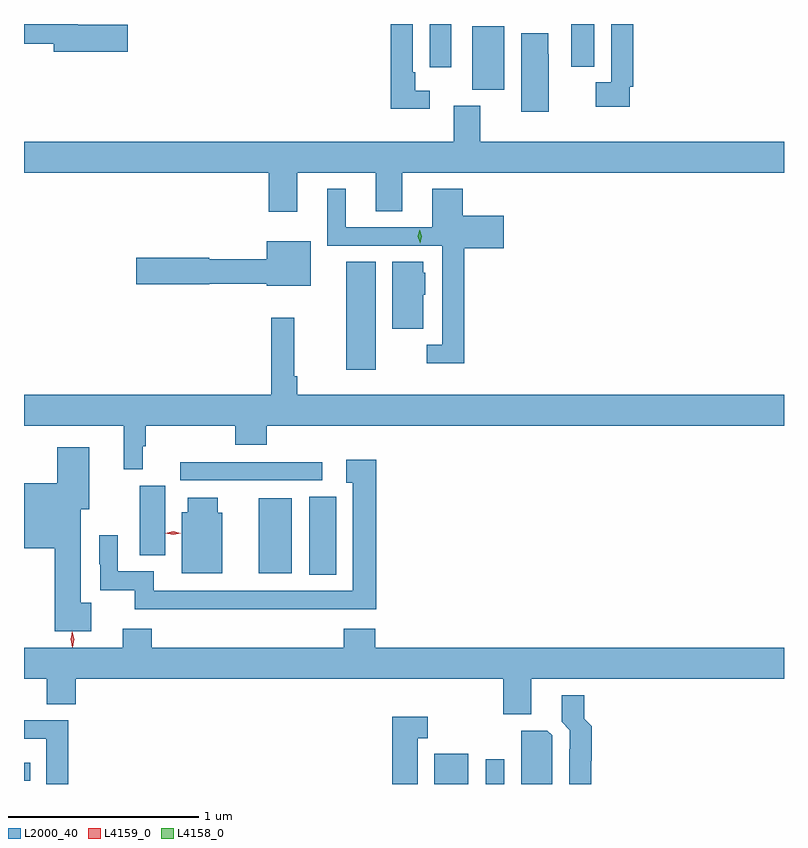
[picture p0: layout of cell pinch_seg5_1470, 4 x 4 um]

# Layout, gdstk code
import gdstk
lib = gdstk.Library(unit=1e-6, precision=1e-09)
def R(c, l, rs):  # rectangles x0, y0, x1, y1
    for r in rs: c.add(gdstk.rectangle(r[:2], r[2:], *l))
def P(c, l, *ps):  # polygons
    for p in ps: c.add(gdstk.Polygon(p, *l))
L2000_40 = (2000, 40)
L4158_0 = (4158, 0)
L4159_0 = (4159, 0)

pinch_seg5_1470 = lib.new_cell('pinch_seg5_1470')
R(pinch_seg5_1470, L2000_40, [(352.718,845.551,352.897,845.71), (352.989,845.551,353.085,845.68), (350.558,845.567,350.591,845.663), (352.058,846.652,352.201,847.064), (351.794,846.659,351.967,847.054), (351.167,846.755,351.301,847.122), (351.381,847.149,352.129,847.245), (352.253,847.731,352.408,848.3), (352.916,849.206,353.086,849.54), (352.694,849.324,352.806,849.551), (353.438,849.325,353.56,849.551)])
P(pinch_seg5_1470, L2000_40, [(351.103,849.548),(350.842,849.548),(350.842,849.551),(350.558,849.551),(350.558,849.448),(350.714,849.448),(350.714,849.406),(351.103,849.406)],
  [(353.745,849.22),(353.765,849.22),(353.765,849.551),(353.649,849.551),(353.649,849.244),(353.566,849.244),(353.566,849.116),(353.745,849.116)],
  [(352.693,849.201),(352.617,849.201),(352.617,849.298),(352.605,849.298),(352.605,849.551),(352.489,849.551),(352.489,849.104),(352.693,849.104)],
  [(353.32,849.392),(353.316,849.392),(353.316,849.503),(353.174,849.503),(353.174,849.09),(353.32,849.09)],
  [(351.997,848.768),(352.409,848.768),(352.409,848.566),(352.549,848.566),(352.549,848.768),(354.558,848.768),(354.558,848.932),(352.96,848.932),(352.96,849.121),(352.82,849.121),(352.82,848.932),(350.558,848.932),(350.558,848.768),(351.845,848.768),(351.845,848.562),(351.997,848.562)],
  [(352.874,848.372),(353.083,848.372),(353.083,848.542),(352.868,848.542),(352.868,848.683),(352.706,848.683),(352.706,848.481),(352.252,848.481),(352.252,848.683),(352.154,848.683),(352.154,848.385),(352.758,848.385),(352.758,847.863),(352.677,847.863),(352.677,847.766),(352.874,847.766)],
  [(352.066,848.407),(351.836,848.407),(351.836,848.314),(351.534,848.314),(351.534,848.322),(351.15,848.322),(351.15,848.18),(351.534,848.18),(351.534,848.185),(351.836,848.185),(351.836,848.174),(352.066,848.174)],
  [(352.66,848.127),(352.669,848.127),(352.669,848.241),(352.66,848.241),(352.66,848.3),(352.496,848.3),(352.496,847.947),(352.66,847.947)],
  [(351.182,847.328),(351.2,847.328),(351.2,847.436),(351.671,847.436),(351.671,847.337),(351.836,847.337),(351.836,847.436),(354.558,847.436),(354.558,847.6),(351.995,847.6),(351.995,847.696),(351.98,847.696),(351.98,848.005),(351.859,848.005),(351.859,847.6),(350.558,847.6),(350.558,847.436),(351.083,847.436),(351.083,847.207),(351.182,847.207)],
  [(350.911,846.504),(350.857,846.504),(350.857,846.998),(350.902,846.998),(350.902,847.324),(350.732,847.324),(350.732,847.135),(350.558,847.135),(350.558,846.791),(350.72,846.791),(350.72,846.356),(350.911,846.356)],
  [(352.157,846.471),(352.411,846.471),(352.411,847.258),(352.253,847.258),(352.253,847.137),(352.289,847.137),(352.289,846.567),(351.241,846.567),(351.241,846.67),(351.051,846.67),(351.051,846.859),(350.955,846.859),(350.955,846.708),(350.958,846.708),(350.958,846.57),(351.142,846.57),(351.142,846.47),(352.157,846.47)],
  [(351.601,846.978),(351.577,846.978),(351.577,847.057),(351.419,847.057),(351.419,846.982),(351.389,846.982),(351.389,846.659),(351.601,846.659)],
  [(350.558,846.104),(350.678,846.104),(350.678,845.971),(350.831,845.971),(350.831,846.104),(353.08,846.104),(353.08,845.917),(353.227,845.917),(353.227,846.104),(354.558,846.104),(354.558,846.268),(352.406,846.268),(352.406,846.367),(352.241,846.367),(352.241,846.268),(351.23,846.268),(351.23,846.367),(351.077,846.367),(351.077,846.268),(350.558,846.268)],
  [(353.543,845.674),(353.546,845.674),(353.546,845.856),(353.507,845.895),(353.507,846.019),(353.387,846.019),(353.387,845.878),(353.43,845.835),(353.43,845.735),(353.427,845.735),(353.427,845.551),(353.543,845.551)],
  [(352.63,845.792),(352.684,845.792),(352.684,845.905),(352.496,845.905),(352.496,845.551),(352.63,845.551)],
  [(350.792,845.886),(350.558,845.886),(350.558,845.79),(350.676,845.79),(350.676,845.551),(350.792,845.551)],
  [(353.337,845.808),(353.313,845.832),(353.174,845.832),(353.174,845.617),(353.175,845.617),(353.175,845.551),(353.337,845.551)])
P(pinch_seg5_1470, L4158_0, [(352.643,848.397),(352.643,848.397),(352.631,848.433),(352.64,848.469),(352.64,848.469),(352.64,848.469),(352.651,848.434),(352.643,848.397)])
P(pinch_seg5_1470, L4159_0, [(351.343,846.862),(351.302,846.872),(351.302,846.872),(351.302,846.872),(351.343,846.881),(351.384,846.871),(351.384,846.871),(351.384,846.871)],
  [(350.813,846.272),(350.813,846.272),(350.803,846.312),(350.812,846.354),(350.812,846.354),(350.812,846.354),(350.823,846.313),(350.814,846.272)])

lib.write_gds('pinch_seg5_1470.gds')
